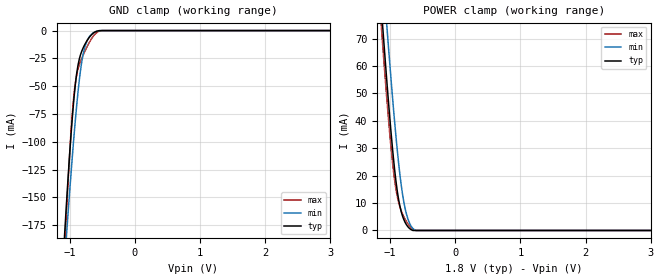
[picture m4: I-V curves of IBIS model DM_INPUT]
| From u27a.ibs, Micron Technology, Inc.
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|   MODEL DM_INPUT
[Model]   DM_INPUT
Model_type   Input
Vinl = 650.000mV
Vinh = 1.150V
|   typ   min   max
C_comp   3.170pF   2.750pF   3.620pF
[Model Spec]
| Input threshold voltage corners
Vinh   0.650V   0.600V   0.700V
Vinl   1.150V   1.100V   1.200V
[Voltage Range]   1.800V   1.700V   1.900V
[Temperature Range]   25.0   85.0   0.0
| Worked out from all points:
|   GND clamp passes 1 mA (typ) near -0.60 V on its own axis
|   POWER clamp passes 1 mA (typ) near -0.71 V on its own axis
[GND Clamp]
|   Voltage   I(typ)   I(min)   I(max)
-1.8V     -988.4mA   -872.2mA   -1.221A
-1.09V    -197.4mA   -220.2mA   NA
-1.07V    -177.6mA   -203.3mA   NA
-1.05V    -158.2mA   -186.6mA   NA
-1.03V    -139.4mA   -170.2mA   NA
-970mV    -87.75mA   -122.9mA   NA
-910mV    -47.87mA   -79.92mA   NA
-850mV    -25.59mA   -44.53mA   NA
-790mV    -15.41mA   -20.86mA   NA
-730mV    -8.923mA   -9.032mA   NA
-630mV    -2.057mA   -1.813mA   NA
3.6V      0A         0A         0A
[POWER Clamp]
|   Voltage   I(typ)   I(min)   I(max)
-1.8V     315.4mA    332.9mA    311.1mA
-1.13V    79.3mA     99.81mA    NA
-1.11V    72.83mA    93.33mA    NA
-1.05V    54.04mA    74.3mA     NA
-990mV    36.66mA    56.1mA     NA
-950mV    26.38mA    44.66mA    NA
-910mV    17.73mA    34.01mA    NA
-870mV    11.22mA    24.49mA    NA
-810mV    5.244mA    13.19mA    NA
-770mV    2.925mA    7.971mA    NA
-670mV    208.5uA    1.257mA    NA
3.6V      0A         0A         0A
